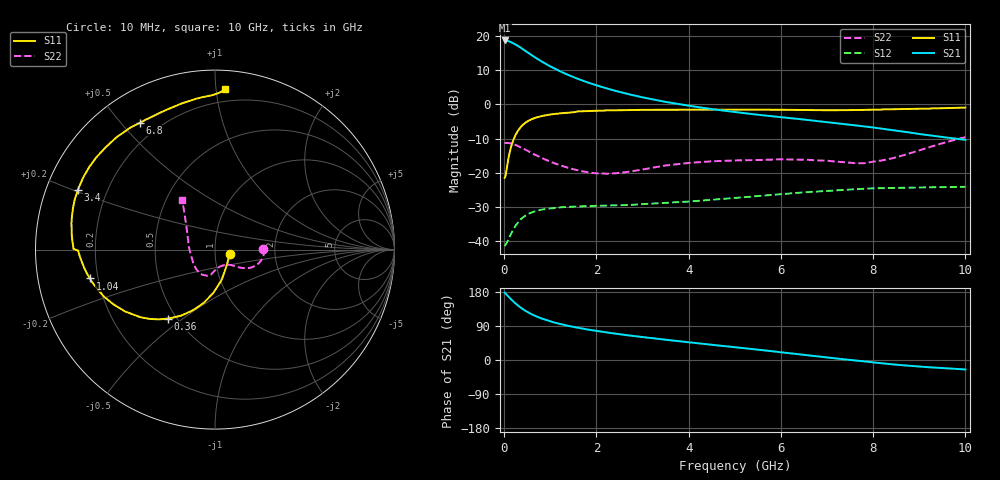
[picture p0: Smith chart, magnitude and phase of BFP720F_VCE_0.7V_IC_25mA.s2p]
! Infineon Technologies  Discrete & RF Semiconductors
! BFP720F
! VCE =  0.7 V,  IC =  25 mA
! Common Emitter S-Parameters:  Jan 2016
# GHz  S  MA  R  50
!  f  S11  S21  S12  S22
! GHz  MAG  ANG  MAG  ANG  MAG  ANG  MAG  ANG
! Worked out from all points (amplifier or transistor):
!   233 points, 10 MHz to 10 GHz, reference 50 ohm
!   highest |S21| = 18.6 dB at 20 MHz (marker M1)
!   |S21| within 3 dB of that: start of sweep to 455 MHz
!   unconditionally stable (mu >= 1): start of sweep to end of sweep
!   at 200 MHz: K = 3.63, MAG = 18.6 dB, |S12| = -36.5 dB
!   at 1.74 GHz: K = 2.53, MAG = 11.4 dB, |S12| = -29.7 dB
!   at 10 GHz: K = 4.86, MAG = -3.0 dB, |S12| = -24.1 dB
!   S11 on the Smith chart (normalised r, x): 10 MHz: 1.18, -0.05; 360 MHz: 0.45, -0.44; 1.04 GHz: 0.17, -0.11; 3.4 GHz: 0.10, +0.21; 6.8 GHz: 0.13, +0.56; 10 GHz: 0.12, +1.06
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0.01  0.0843 -15.7  8.512 178.0  0.0085 8.0  0.2689 0.6
0.02  0.0866 -23.3  8.552 176.4  0.0087 9.6  0.2732 -1.5
0.1  0.173 -77.6  8.333 166.6  0.011 26.6  0.2727 -7.0
0.15  0.2391 -91.8  8.092 160.2  0.0129 32.9  0.2683 -10.7
0.2  0.303 -101.9  7.789 154.3  0.015 35.8  0.2621 -14.2
0.26  0.3706 -111.6  7.393 147.8  0.0174 36.6  0.2535 -18.0
0.36  0.4657 -124.4  6.698 138.1  0.021 35.3  0.2353 -23.6
0.44  0.5245 -132.5  6.15 131.4  0.0232 33.4  0.2211 -27.3
0.5  0.5608 -137.8  5.771 127.0  0.0246 31.9  0.2108 -29.1
0.6  0.6084 -145.5  5.197 120.4  0.0265 29.4  0.1929 -32.5
0.7  0.6437 -151.8  4.699 114.9  0.0279 27.2  0.1797 -34.5
0.8  0.672 -157.1  4.267 110.0  0.0289 25.2  0.1659 -36.5
0.9  0.6924 -161.7  3.895 105.8  0.0297 23.6  0.1555 -37.7
1.04  0.7154 -167.0  3.467 100.6  0.0305 21.9  0.1421 -40.0
1.3  0.7459 -174.9  2.849 92.5  0.0316 19.7  0.1232 -44.2
1.68  0.7922 178.0  2.243 83.3  0.0325 18.1  0.1057 -52.5
2.4  0.8184 166.9  1.579 69.7  0.0335 17.9  0.0983 -74.3
3.4  0.8326 156.6  1.119 54.9  0.036 20.6  0.1246 -93.7
5.1  0.8363 141.1  0.757 32.5  0.0435 23.4  0.1523 -107.4
6.8  0.8213 120.5  0.568 9.6  0.0535 19.7  0.1519 -131.0
8.4  0.8464 97.3  0.423 -11.3  0.0602 12.1  0.1622 158.5
10  0.8955 86.3  0.303 -24.9  0.0625 7.0  0.332 123.6
